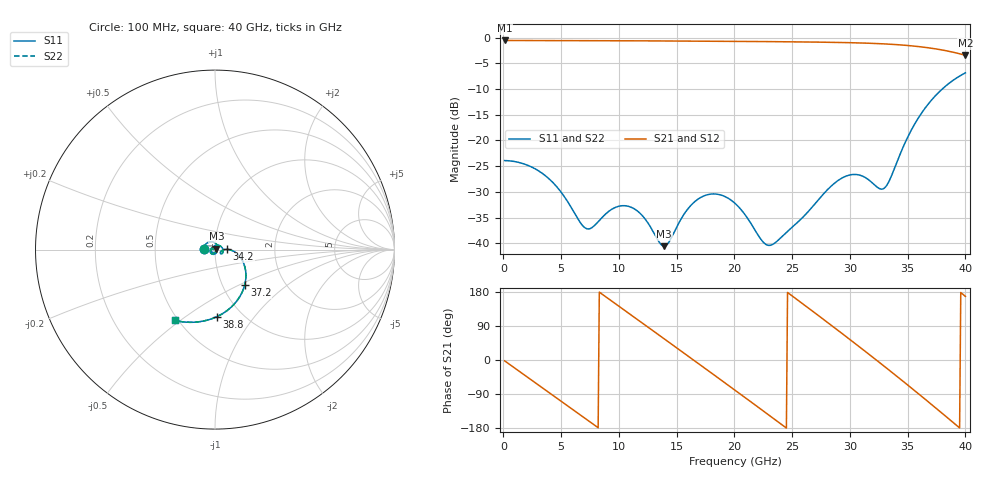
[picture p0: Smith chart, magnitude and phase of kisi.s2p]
! A_s4_d300_ap1000: L1→L4 through L2/L3, drill Ø0.3, antipad Ø1, 4 GND vias at 1 mm
! stackup: 4-layer 1.6 mm FR-4
! ports: 1, 2
! kisi-fdtd, conformal, dfine 0.035 mm, 519453 cells
# Hz S RI R 50
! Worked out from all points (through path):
!   400 points, 100 MHz to 40 GHz, reference 50 ohm
!   highest |S21| = -0.56 dB at 100 MHz (marker M1); lowest = -3.5 dB at 40 GHz (marker M2)
!   group delay of S21, straight-line fit = 62.7 ps
!   lowest |S11| = -40.6 dB at 13.9 GHz (marker M3), VSWR 1.02, Z = 50.8 + j0.557 ohm
!   |S11| at or under -10 dB: start of sweep to 38 GHz
!   |S22| runs from -40.6 to -6.9 dB; largest |S21 - S12| = 1.4e-07
!   S11 on the Smith chart (normalised r, x): 100 MHz: 0.88, +0.00; 34.2 GHz: 1.14, +0.00; 37.2 GHz: 1.27, -0.53; 38.8 GHz: 0.77, -0.67; 40 GHz: 0.48, -0.48
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1e8  -0.0636 0.00207  0.9365 -0.0357  0.9365 -0.0357  -0.0636 0.00207
1.7e9  -0.0504 0.0315  0.7466 -0.5649  0.7466 -0.5649  -0.0504 0.0315
3.6e9  -0.0149 0.0432  0.1861 -0.9154  0.1861 -0.9154  -0.0149 0.0432
5.1e9  0.01 0.0286  -0.3366 -0.8701  -0.3366 -0.8701  0.01 0.0286
6.8e9  0.0151 -0.000777  -0.7923 -0.4916  -0.7923 -0.4916  0.0151 -0.000777
9.6e9  -0.0179 -0.0129  -0.8117 0.4566  -0.8117 0.4566  -0.0179 -0.0129
1.16e10  -0.0186 0.00882  -0.2689 0.8898  -0.2689 0.8898  -0.0186 0.00882
1.34e10  0.00274 0.0103  0.358 0.8554  0.358 0.8554  0.00274 0.0103
1.39e10  0.0076 0.00549  0.5141 0.7709  0.5141 0.7709  0.0076 0.00549
1.69e10  -0.00674 -0.0263  0.9091 -0.1572  0.9091 -0.1572  -0.00674 -0.0263
2.01e10  -0.0241 -0.00129  0.1468 -0.9064  0.1468 -0.9064  -0.0241 -0.00129
2.18e10  -0.0127 0.00394  -0.4407 -0.8025  -0.4407 -0.8025  -0.0127 0.00394
2.37e10  -0.0105 0.000564  -0.8647 -0.2897  -0.8647 -0.2897  -0.0105 0.000564
2.67e10  0.0001 0.0223  -0.5863 0.6887  -0.5863 0.6887  0.0001 0.0223
2.96e10  0.0447 -6.7e-05  0.3997 0.7993  0.3997 0.7993  0.0447 -6.7e-05
3.16e10  0.034 -0.0239  0.8455 0.2479  0.8455 0.2479  0.034 -0.0239
3.34e10  0.0401 -0.00434  0.7698 -0.3893  0.7698 -0.3893  0.0401 -0.00434
3.42e10  0.0669 0.00148  0.5884 -0.6152  0.5884 -0.6152  0.0669 0.00148
3.57e10  0.1431 -0.0458  0.0974 -0.8171  0.0974 -0.8171  0.1431 -0.0458
3.72e10  0.1659 -0.1957  -0.4 -0.6734  -0.4 -0.6734  0.1659 -0.1957
3.88e10  0.00931 -0.3742  -0.6878 -0.2325  -0.6878 -0.2325  0.00931 -0.3742
4e10  -0.2243 -0.3946  -0.6568 0.1412  -0.6568 0.1412  -0.2243 -0.3946
